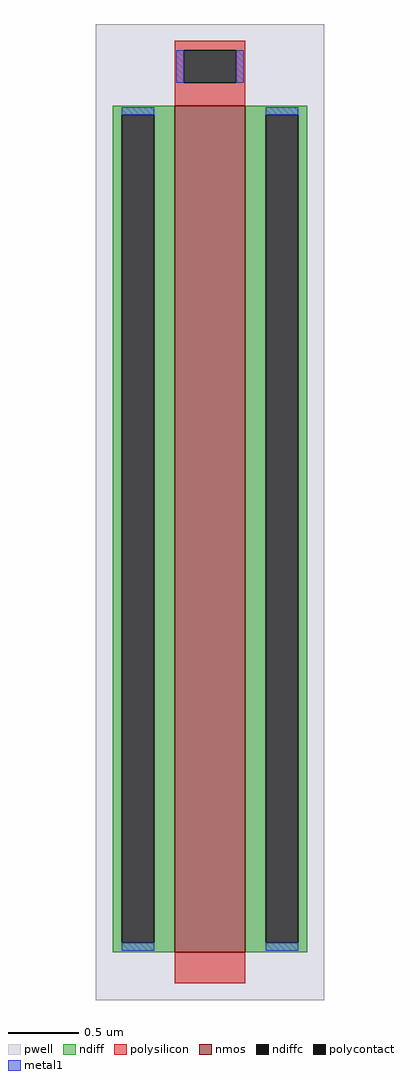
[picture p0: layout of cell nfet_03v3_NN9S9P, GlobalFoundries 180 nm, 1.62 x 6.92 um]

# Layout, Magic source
magic
tech gf180mcuD
magscale 1 10
<< pwell >>
rect -162 -692 162 692
<< nmos >>
rect -50 -624 50 576
<< ndiff >>
rect -138 563 -50 576
rect -138 -611 -125 563
rect -79 -611 -50 563
rect -138 -624 -50 -611
rect 50 563 138 576
rect 50 -611 79 563
rect 125 -611 138 563
rect 50 -624 138 -611
<< ndiffc >>
rect -125 -611 -79 563
rect 79 -611 125 563
<< polysilicon >>
rect -50 655 50 668
rect -50 609 -37 655
rect 37 609 50 655
rect -50 576 50 609
rect -50 -668 50 -624
<< polycontact >>
rect -37 609 37 655
<< metal1 >>
rect -48 609 -37 655
rect 37 609 48 655
rect -125 563 -79 574
rect -125 -622 -79 -611
rect 79 563 125 574
rect 79 -622 125 -611
<< properties >>
string gencell nfet_03v3
string library gf180mcu
string parameters w 6 l 0.5 m 1 nf 1 diffcov 100 polycov 100 guard 0 glc 0 grc 0 gtc 0 gbc 0 tbcov 100 rlcov 100 topc 1 botc 0 poverlap 0 doverlap 1 lmin 0.28 wmin 0.22 class mosfet full_metal 0 compatible {nfet_03v3 nfet_05v0 nfet_06v0 nfet_06v0_nvt}
<< end >>
